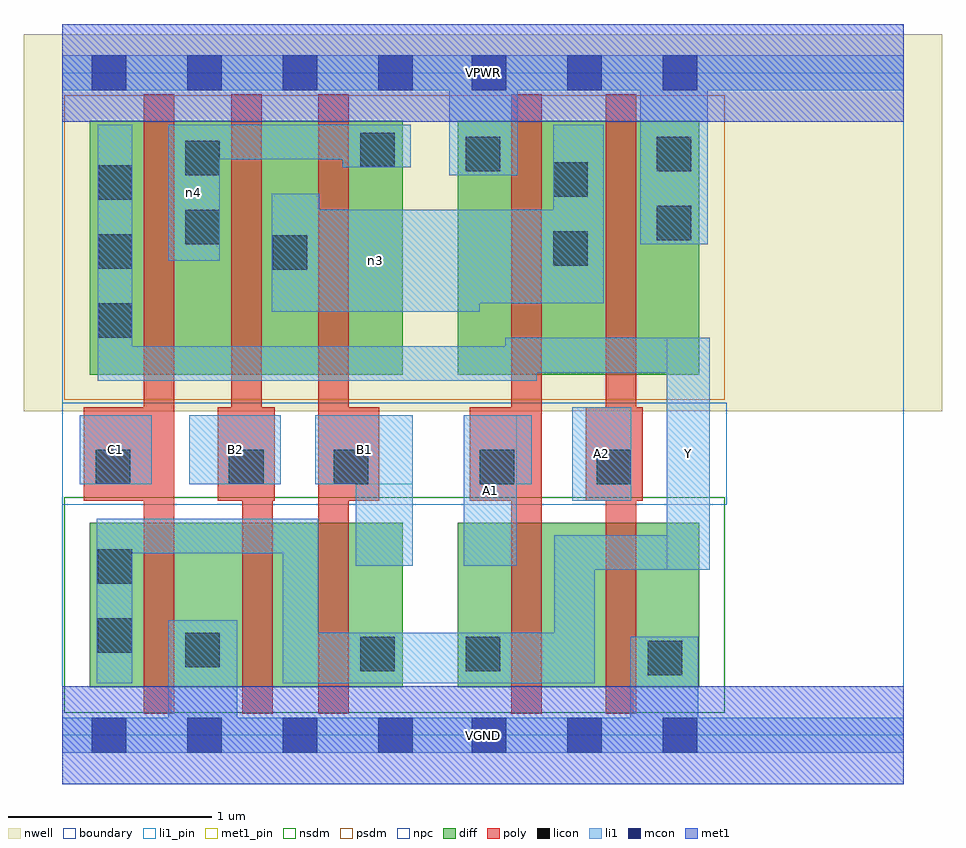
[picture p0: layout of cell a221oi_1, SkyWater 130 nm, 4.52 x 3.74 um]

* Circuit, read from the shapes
.subckt a221oi_1 A1 A2 B1 B2 C1 VGND VPWR Y n3 n4
XM1 VGND C1 Y VSUBS sky130_fd_pr__nfet_01v8 w=0.81 l=0.15
XM2 n1 B2 VGND VSUBS sky130_fd_pr__nfet_01v8 w=0.81 l=0.15
XM3 Y B1 n1 VSUBS sky130_fd_pr__nfet_01v8 w=0.81 l=0.15
XM4 n2 A1 Y VSUBS sky130_fd_pr__nfet_01v8 w=0.81 l=0.15
XM5 VGND A2 n2 VSUBS sky130_fd_pr__nfet_01v8 w=0.81 l=0.15
XM6 n4 C1 Y n5 sky130_fd_pr__pfet_01v8 w=1.25 l=0.15
XM7 n3 B2 n4 n5 sky130_fd_pr__pfet_01v8 w=1.25 l=0.15
XM8 n4 B1 n3 n5 sky130_fd_pr__pfet_01v8 w=1.25 l=0.15
XM9 n3 A1 VPWR n5 sky130_fd_pr__pfet_01v8 w=1.25 l=0.15
XM10 VPWR A2 n3 n5 sky130_fd_pr__pfet_01v8 w=1.25 l=0.15
.ends

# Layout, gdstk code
import gdstk
lib = gdstk.Library(unit=1e-6, precision=1e-09)
def R(c, l, rs):  # rectangles x0, y0, x1, y1
    for r in rs: c.add(gdstk.rectangle(r[:2], r[2:], *l))
def A(c, l, x, y, w, h, nx, ny, dx, dy):  # array of equal rectangles
    R(c, l, [(x+i*dx, y+j*dy, x+i*dx+w, y+j*dy+h) for i in range(nx) for j in range(ny)])
nwell = (64, 20)
diff = (65, 20)
poly = (66, 20)
licon = (66, 44)
li1_pin = (67, 16)
li1 = (67, 20)
mcon = (67, 44)
met1_pin = (68, 16)
met1 = (68, 20)
nsdm = (93, 44)
psdm = (94, 20)
npc = (95, 20)
boundary = (235, 4)

a221oi_1 = lib.new_cell('a221oi_1')
R(a221oi_1, nwell, [(-0.19,1.595,4.33,3.45), (0,1.595,4.14,3.45)])
R(a221oi_1, diff, [(0.135,0.235,1.675,1.045), (1.945,0.235,3.135,1.045), (0.135,1.775,1.675,3.025), (1.945,1.775,3.135,3.025)])
R(a221oi_1, poly, [(0.4,0.105,0.55,3.155), (0.885,0.105,1.035,1.615), (1.26,0.105,1.41,3.155), (2.21,0.105,2.36,3.155), (2.675,0.105,2.825,3.155), (0.105,1.155,0.55,1.615), (0.765,1.155,1.045,1.615), (0.83,1.155,0.98,3.155), (1.26,1.155,1.56,1.615), (2.005,1.155,2.36,1.615), (2.575,1.155,2.855,1.615)])
A(a221oi_1, licon, 0.175, 1.955, 0.17, 0.17, 1, 3, 0, 0.34)
R(a221oi_1, licon, [(2.88,0.295,3.05,0.465), (1.465,0.315,1.635,0.485), (1.985,0.315,2.155,0.485), (0.605,0.335,0.775,0.505), (0.175,0.405,0.345,0.575), (0.175,0.745,0.345,0.915), (0.165,1.235,0.335,1.405), (0.82,1.235,0.99,1.405), (1.335,1.235,1.505,1.405), (2.055,1.235,2.225,1.405), (2.63,1.235,2.8,1.405), (1.035,2.29,1.205,2.46), (2.415,2.31,2.585,2.48), (0.605,2.415,0.775,2.585), (2.925,2.435,3.095,2.605), (2.415,2.65,2.585,2.82), (0.605,2.755,0.775,2.925), (1.985,2.775,2.155,2.945), (2.925,2.775,3.095,2.945), (1.465,2.795,1.635,2.965)])
R(a221oi_1, li1_pin, [(2.975,0.815,3.185,1.955), (1.975,0.835,2.235,1.575), (2.51,1.155,2.8,1.615), (0.085,1.235,0.44,1.575), (0.625,1.235,1.075,1.575), (1.245,1.235,1.725,1.575)])
R(a221oi_1, li1, [(0,-0.085,4.14,0.085), (0.52,-0.085,0.86,0.565), (2.795,-0.085,3.13,0.485), (0.17,0.255,0.345,1.065), (1.085,0.255,1.26,1.065), (1.085,0.255,2.62,0.505), (2.42,0.255,2.62,0.985), (2.42,0.815,3.185,0.985), (2.975,0.815,3.185,1.955), (1.445,0.835,1.725,1.575), (1.975,0.835,2.235,1.575), (0.17,0.895,1.26,1.065), (2.51,1.155,2.8,1.615), (0.085,1.235,0.44,1.575), (0.625,1.235,1.075,1.575), (1.245,1.235,1.725,1.575), (1.975,1.235,2.31,1.575), (0.175,1.745,2.335,1.915), (0.175,1.745,0.345,3.005), (2.18,1.785,3.185,1.955), (1.03,2.085,2.055,2.585), (1.03,2.085,1.265,2.665), (1.03,2.125,2.665,2.585), (2.415,2.125,2.665,3.005), (0.52,2.335,0.775,3.005), (2.845,2.415,3.175,3.345), (1.905,2.755,2.24,3.345), (1.38,2.795,1.715,3.005), (0.52,2.835,1.715,3.005), (0,3.175,4.14,3.345)])
A(a221oi_1, mcon, 0.145, -0.085, 0.17, 0.17, 4, 2, 0.47, 3.26)
A(a221oi_1, mcon, 2.015, -0.085, 0.17, 0.17, 3, 2, 0.47, 3.26)
R(a221oi_1, met1_pin, [(0,-0.24,4.14,0.24), (0,3.02,4.14,3.5)])
R(a221oi_1, met1, [(0,-0.24,4.14,0.24), (0,3.02,4.14,3.5)])
R(a221oi_1, nsdm, [(0.01,0.11,3.26,1.17)])
R(a221oi_1, psdm, [(0.01,1.65,3.26,3.15)])
R(a221oi_1, npc, [(0,1.135,3.27,1.635)])
R(a221oi_1, boundary, [(0,0,4.14,3.26)])
a221oi_1.add(gdstk.Label('A1', (2.105,1.205), layer=67, texttype=5))
a221oi_1.add(gdstk.Label('A2', (2.655,1.385), layer=67, texttype=5))
a221oi_1.add(gdstk.Label('B1', (1.485,1.405), layer=67, texttype=5))
a221oi_1.add(gdstk.Label('B2', (0.85,1.405), layer=67, texttype=5))
a221oi_1.add(gdstk.Label('C1', (0.262,1.405), layer=67, texttype=5))
a221oi_1.add(gdstk.Label('Y', (3.08,1.385), layer=67, texttype=5))
a221oi_1.add(gdstk.Label('n4', (0.647,2.67), layer=67, texttype=5))
a221oi_1.add(gdstk.Label('n3', (1.542,2.335), layer=67, texttype=5))
a221oi_1.add(gdstk.Label('VPWR', (2.07,3.26), layer=68, texttype=5))
a221oi_1.add(gdstk.Label('VGND', (2.07,0), layer=68, texttype=5))
a221oi_1.add(gdstk.Label('A1', (2.105,1.205), layer=67, texttype=16))
a221oi_1.add(gdstk.Label('A2', (2.655,1.385), layer=67, texttype=16))
a221oi_1.add(gdstk.Label('B1', (1.485,1.405), layer=67, texttype=16))
a221oi_1.add(gdstk.Label('B2', (0.85,1.405), layer=67, texttype=16))
a221oi_1.add(gdstk.Label('C1', (0.262,1.405), layer=67, texttype=16))
a221oi_1.add(gdstk.Label('Y', (3.08,1.385), layer=67, texttype=16))
a221oi_1.add(gdstk.Label('VPWR', (2.07,3.26), layer=68, texttype=16))
a221oi_1.add(gdstk.Label('VGND', (2.07,0), layer=68, texttype=16))

lib.write_gds('a221oi_1.gds')
